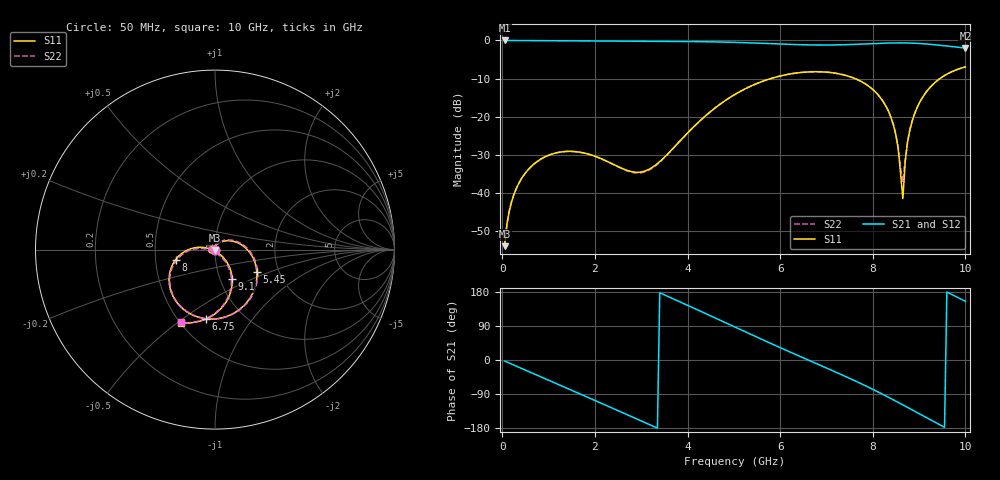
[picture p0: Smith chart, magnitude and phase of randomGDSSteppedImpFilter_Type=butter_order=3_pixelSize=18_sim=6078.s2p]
! freq	dB(S11)	phase(S11)	dB(S12)	phase(S12)
!  dB(S21)	phase(S21)	dB(S22)	phase(S22)
!S-par simulation data
#  GHz  S  DB  R 50
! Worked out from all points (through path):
!   200 points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, 50 MHz to 10 GHz, reference 50 ohm
!   highest |S21| = -0.01 dB at 50 MHz (marker M1); lowest = -2.0 dB at 10 GHz (marker M2)
!   group delay of S21, straight-line fit = 155 ps
!   lowest |S11| = -54.0 dB at 50 MHz (marker M3), VSWR 1.00, Z = 50 - j0.195 ohm
!   |S11| at or under -10 dB: start of sweep to 5.798 GHz; 7.614 GHz to 9.451 GHz (1.837 GHz wide, 21.5 % of centre)
!   |S22| runs from -54.0 to -7.0 dB; largest |S21 - S12| = 0
!   S11 on the Smith chart (normalised r, x): 50 MHz: 1.00, -0.00; 5.45 GHz: 1.54, -0.42; 6.75 GHz: 0.68, -0.61; 8 GHz: 0.64, -0.08; 9.1 GHz: 1.14, -0.39; 10 GHz: 0.51, -0.52
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0.05  -53.96 -76.8  -0.01 -2.7  -0.01 -2.7  -53.97 -76.7
0.2  -42.33 -97.1  -0.02 -10.8  -0.02 -10.8  -42.33 -97.0
0.55  -34.03 -119.4  -0.04 -29.4  -0.04 -29.4  -34.02 -119.1
1.2  -29.40 -156.3  -0.08 -64.0  -0.08 -64.0  -29.40 -155.4
1.75  -29.50 172.5  -0.11 -93.4  -0.11 -93.4  -29.50 174.4
2.65  -33.89 116.6  -0.17 -141.7  -0.17 -141.7  -34.00 123.4
3.4  -31.79 74.1  -0.23 177.5  -0.23 177.5  -31.95 82.5
4.3  -20.73 32.5  -0.33 127.7  -0.33 127.7  -20.75 35.9
5.05  -13.98 -6.8  -0.52 85.5  -0.52 85.5  -13.98 -4.9
5.45  -11.54 -28.4  -0.68 63.0  -0.68 63.0  -11.54 -26.9
6.1  -9.06 -63.4  -1.00 27.2  -1.00 27.2  -9.06 -62.1
6.7  -8.22 -95.0  -1.19 -5.1  -1.19 -5.1  -8.22 -93.8
6.75  -8.21 -97.6  -1.20 -7.7  -1.20 -7.7  -8.21 -96.5
7.35  -8.98 -129.3  -1.14 -40.1  -1.14 -40.1  -8.97 -128.1
8  -12.87 -165.5  -0.83 -77.4  -0.83 -77.4  -12.86 -163.7
8.35  -18.90 174.8  -0.68 -99.0  -0.68 -99.0  -18.85 178.1
8.55  -28.56 169.5  -0.64 -111.9  -0.64 -111.9  -28.19 178.5
8.65  -41.51 -93.8  -0.65 -118.5  -0.65 -118.5  -37.16 -102.8
8.7  -31.91 -47.1  -0.66 -121.8  -0.66 -121.8  -31.18 -59.0
8.8  -23.56 -43.7  -0.68 -128.4  -0.68 -128.4  -23.45 -48.5
9.1  -14.46 -59.5  -0.88 -148.3  -0.88 -148.3  -14.45 -61.0
10  -6.96 -114.9  -2.01 154.9  -2.01 154.9  -6.96 -115.3
